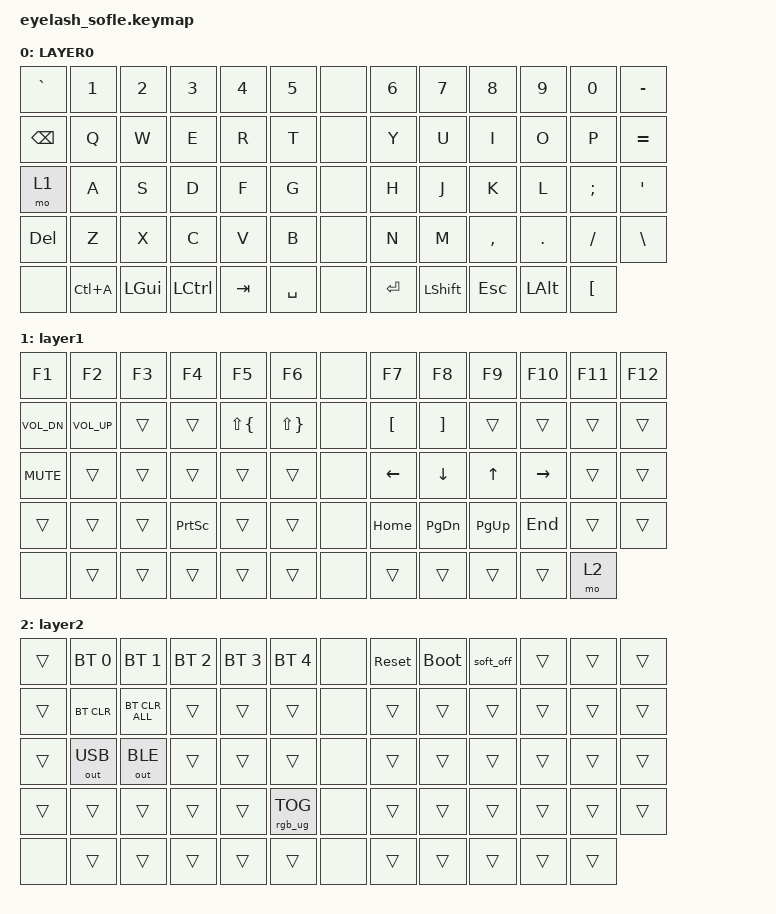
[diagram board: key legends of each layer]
#define ZMK_POINTING_DEFAULT_MOVE_VAL 1200  // 600
#define ZMK_POINTING_DEFAULT_SCRL_VAL 25   // 10

#include <input/processors.dtsi>
#include <zephyr/dt-bindings/input/input-event-codes.h>
#include <behaviors.dtsi>
#include <dt-bindings/zmk/bt.h>
#include <dt-bindings/zmk/keys.h>
#include <dt-bindings/zmk/outputs.h>
#include <dt-bindings/zmk/rgb.h>

&mmv_input_listener { input-processors = <&zip_xy_scaler 2 1>; };

&msc_input_listener { input-processors = <&zip_scroll_scaler 2 1>; };

&soft_off { hold-time-ms = <2000>; };

/ {
    combos {
        compatible = "zmk,combos";

        softoff {
            bindings = <&soft_off>;
            key-positions = <14 28 40>;
        };
    };

    keymap {
        compatible = "zmk,keymap";

        layer0 {
            bindings = <
&kp GRAVE      &kp N1     &kp N2        &kp N3     &kp N4   &kp N5       &none  &kp N6     &kp N7      &kp N8     &kp N9    &kp N0    &kp MINUS
&kp BACKSPACE  &kp Q      &kp W         &kp E      &kp R    &kp T        &none  &kp Y      &kp U       &kp I      &kp O     &kp P     &kp EQUAL
&mo 1          &kp A      &kp S         &kp D      &kp F    &kp G        &none  &kp H      &kp J       &kp K      &kp L     &kp SEMI  &kp APOS
&kp DELETE     &kp Z      &kp X         &kp C      &kp V    &kp B        &none  &kp N      &kp M       &kp COMMA  &kp DOT   &kp FSLH  &kp BACKSLASH
&none          &kp LC(A)  &kp LEFT_GUI  &kp LCTRL  &kp TAB  &kp SPACE    &none  &kp ENTER  &kp LSHIFT  &kp ESC    &kp LALT  &kp LBKT
            >;

            display-name = "LAYER0";
        };

        layer_1 {
            bindings = <
&kp F1        &kp F2        &kp F3  &kp F4           &kp F5        &kp F6          &none  &kp F7    &kp F8     &kp F9        &kp F10    &kp F11  &kp F12
&kp C_VOL_DN  &kp C_VOL_UP  &trans  &trans           &kp LS(LBRC)  &kp LS(RBRC)    &none  &kp LBKT  &kp RBKT   &trans        &trans     &trans   &trans
&kp K_MUTE    &trans        &trans  &trans           &trans        &trans          &none  &kp LEFT  &kp DOWN   &kp UP_ARROW  &kp RIGHT  &trans   &trans
&trans        &trans        &trans  &kp PRINTSCREEN  &trans        &trans          &none  &kp HOME  &kp PG_DN  &kp PG_UP     &kp END    &trans   &trans
&none         &trans        &trans  &trans           &trans        &trans          &none  &trans    &trans     &trans        &trans     &mo 2
            >;

            display-name = "layer1";
        };

        layer_2 {
            bindings = <
&trans  &bt BT_SEL 0  &bt BT_SEL 1    &bt BT_SEL 2  &bt BT_SEL 3  &bt BT_SEL 4       &none  &sys_reset  &bootloader  &soft_off  &trans  &trans  &trans
&trans  &bt BT_CLR    &bt BT_CLR_ALL  &trans        &trans        &trans             &none  &trans      &trans       &trans     &trans  &trans  &trans
&trans  &out OUT_USB  &out OUT_BLE    &trans        &trans        &trans             &none  &trans      &trans       &trans     &trans  &trans  &trans
&trans  &trans        &trans          &trans        &trans        &rgb_ug RGB_TOG    &none  &trans      &trans       &trans     &trans  &trans  &trans
&none   &trans        &trans          &trans        &trans        &trans             &none  &trans      &trans       &trans     &trans  &trans
            >;

            display-name = "layer2";
        };
    };
};
